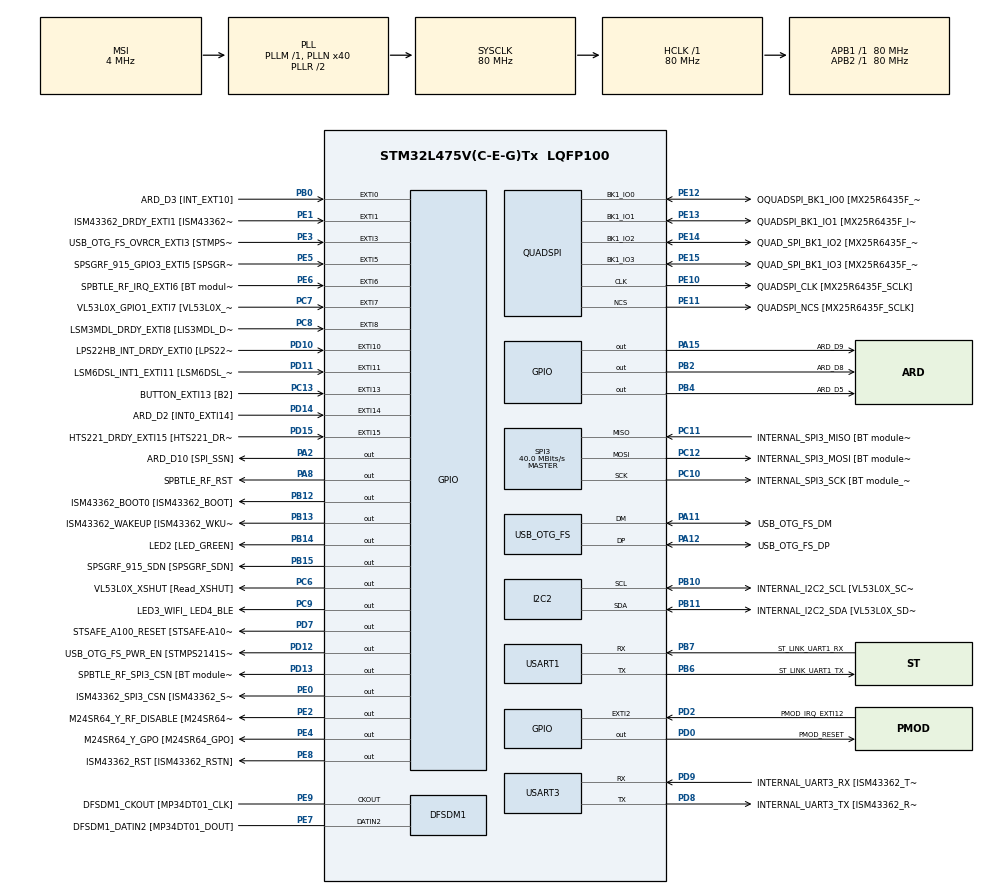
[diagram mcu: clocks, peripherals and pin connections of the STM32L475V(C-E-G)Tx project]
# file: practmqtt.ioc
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FREERTOS.Tasks01=defaultTask,32,256,StartDefaultTask,Default,NULL,Dynamic,NULL,NULL;wifiStarat,24,512,wifiStartTask,Default,NULL,Dynamic,NULL,NULL
FREERTOS.configTOTAL_HEAP_SIZE=5000
FREERTOS.configUSE_NEWLIB_REENTRANT=1
Mcu.Family=STM32L4
Mcu.Name=STM32L475V(C-E-G)Tx
Mcu.Package=LQFP100
NVIC.EXTI15_10_IRQn=true\:5\:0\:false\:false\:true\:true\:true\:true\:true
NVIC.EXTI1_IRQn=true\:0\:0\:false\:false\:true\:false\:true\:true\:true
NVIC.EXTI9_5_IRQn=true\:5\:0\:false\:false\:true\:true\:true\:true\:true
NVIC.PriorityGroup=NVIC_PRIORITYGROUP_4
NVIC.SPI3_IRQn=true\:0\:0\:false\:false\:false\:false\:true\:true\:true
NVIC.TIM6_DAC_IRQn=true\:15\:0\:false\:false\:true\:false\:false\:true\:true
NVIC.TimeBase=TIM6_DAC_IRQn
NVIC.TimeBaseIP=TIM6
PA0.GPIO_Label=ARD_D1 [UART4_TX]
PA0.Signal=UART4_TX
PA1.GPIO_Label=ARD_D0 [UART4_RX]
PA1.Signal=UART4_RX
PA10.GPIO_Label=USB_OTG_FS_ID
PA10.Signal=USB_OTG_FS_ID
PA11.GPIO_Label=USB_OTG_FS_DM
PA11.Mode=Device_Only
PA11.Signal=USB_OTG_FS_DM
PA12.GPIO_Label=USB_OTG_FS_DP
PA12.Mode=Device_Only
PA12.Signal=USB_OTG_FS_DP
PA13\ (JTMS-SWDIO).GPIO_Label=SYS_JTMS_SWDIO
PA13\ (JTMS-SWDIO).Mode=Serial_Wire
PA13\ (JTMS-SWDIO).Signal=SYS_JTMS-SWDIO
PA14\ (JTCK-SWCLK).GPIO_Label=SYS_JTCK_SWCLK
PA14\ (JTCK-SWCLK).Mode=Serial_Wire
PA14\ (JTCK-SWCLK).Signal=SYS_JTCK-SWCLK
PA15\ (JTDI).GPIO_Label=ARD_D9
PA15\ (JTDI).Signal=GPIO_Output
PA2.GPIO_Label=ARD_D10 [SPI_SSN]
PA2.Signal=GPIO_Output
PA3.GPIO_Label=ARD_D4
PA3.Signal=S_TIM2_CH4
PA4.GPIO_Label=ARD_D7
PA4.Signal=ADCx_IN9
PA5.GPIO_Label=ARD_D13 [SPI1_SCK]
PA5.Signal=SPI1_SCK
PA6.GPIO_Label=ARD_D12 [SPI1_MISO]
PA6.Signal=SPI1_MISO
PA7.GPIO_Label=ARD_D11 [SPI1_MOSI]
PA7.Signal=SPI1_MOSI
PA8.GPIO_Label=SPBTLE_RF_RST
PA8.Signal=GPIO_Output
PA9.GPIO_Label=USB_OTG_FS_VBUS [STMPS2141STR_OUT]
PA9.Signal=USB_OTG_FS_VBUS
PB0.GPIO_Label=ARD_D3 [INT_EXT10]
PB0.Signal=GPXTI0
PB1.GPIO_Label=ARD_D6 [ADC1_IN6]
PB1.Signal=ADCx_IN16
PB10.GPIO_Label=INTERNAL_I2C2_SCL [VL53L0X_SCL]
PB10.GPIO_Pu=GPIO_PULLUP
PB10.Mode=I2C
PB10.Signal=I2C2_SCL
PB11.GPIO_Label=INTERNAL_I2C2_SDA [VL53L0X_SDA]
PB11.GPIO_Pu=GPIO_PULLUP
PB11.Mode=I2C
PB11.Signal=I2C2_SDA
PB12.GPIO_Label=ISM43362_BOOT0 [ISM43362_BOOT]
PB12.Signal=GPIO_Output
PB13.GPIO_Label=ISM43362_WAKEUP [ISM43362_WKUP]
PB13.Signal=GPIO_Output
PB14.GPIO_Label=LED2 [LED_GREEN]
PB14.Signal=GPIO_Output
PB15.GPIO_Label=SPSGRF_915_SDN [SPSGRF_SDN]
PB15.Signal=GPIO_Output
PB2.GPIO_Label=ARD_D8
PB2.Signal=GPIO_Output
PB3\ (JTDO-TRACESWO).GPIO_Label=SYS_JTD0_SWO
PB3\ (JTDO-TRACESWO).Signal=SYS_JTDO-SWO
PB4\ (NJTRST).GPIO_Label=ARD_D5
PB4\ (NJTRST).Signal=GPIO_Output
PB6.GPIO_Label=ST_LINK_UART1_TX
PB6.Mode=Asynchronous
PB6.Signal=USART1_TX
PB7.GPIO_Label=ST_LINK_UART1_RX
PB7.Mode=Asynchronous
PB7.Signal=USART1_RX
PB8.GPIO_Label=ARD_D15 [I2C1_SCL]
PB8.Signal=I2C1_SCL
PB9.GPIO_Label=ARD_D14 [I2C1_SDA]
PB9.Signal=I2C1_SDA
PC0.GPIO_Label=ARD_A5 [ADC]
PC0.Signal=ADCx_IN1
PC1.GPIO_Label=ARD_A4 [ADC]
PC1.Signal=ADCx_IN2
PC10.GPIO_Label=INTERNAL_SPI3_SCK [BT module_SPI_SCLK] [ISM43362_SCK]
PC10.Mode=Full_Duplex_Master
PC10.Signal=SPI3_SCK
PC11.GPIO_Label=INTERNAL_SPI3_MISO [BT module_SPI_MISO] [ISM43362_MISO]
PC11.Mode=Full_Duplex_Master
PC11.Signal=SPI3_MISO
PC12.GPIO_Label=INTERNAL_SPI3_MOSI [BT module_SPI_MOSI] [ISM43362_MOSI]
PC12.Mode=Full_Duplex_Master
PC12.Signal=SPI3_MOSI
PC13.GPIO_Label=BUTTON_EXTI13 [B2]
PC13.GPIO_ModeDefaultEXTI=GPIO_MODE_IT_FALLING
PC13.Signal=GPXTI13
PC14-OSC32_IN\ (PC14).Mode=LSE-External-Oscillator
PC14-OSC32_IN\ (PC14).Signal=RCC_OSC32_IN
PC15-OSC32_OUT\ (PC15).Mode=LSE-External-Oscillator
PC15-OSC32_OUT\ (PC15).Signal=RCC_OSC32_OUT
PC2.GPIO_Label=ARD_A3 [ADC]
PC2.Signal=ADCx_IN3
PC3.GPIO_Label=ARD_A2 [ADC]
PC3.Signal=ADCx_IN4
PC4.GPIO_Label=ARD_A1 [ADC]
PC4.Signal=ADCx_IN13
PC5.GPIO_Label=ARD_A0 [ADC]
PC5.Signal=ADCx_IN14
PC6.GPIO_Label=VL53L0X_XSHUT [Read_XSHUT]
PC6.Signal=GPIO_Output
PC7.GPIO_Label=VL53L0X_GPIO1_EXTI7 [VL53L0X_GPIO1]
PC7.Signal=GPXTI7
PC8.GPIO_Label=LSM3MDL_DRDY_EXTI8 [LIS3MDL_DRDY]
PC8.Signal=GPXTI8
PC9.GPIO_Label=LED3_WIFI_ LED4_BLE
PC9.Signal=GPIO_Output
PD0.GPIO_Label=PMOD_RESET
PD0.Signal=GPIO_Output
PD1.GPIO_Label=PMOD_SPI2_SCK
PD1.Signal=SPI2_SCK
PD10.GPIO_Label=LPS22HB_INT_DRDY_EXTI0 [LPS22HB_INT_DRDY] 
PD10.Signal=GPXTI10
PD11.GPIO_Label=LSM6DSL_INT1_EXTI11 [LSM6DSL_INT1]
PD11.Signal=GPXTI11
PD12.GPIO_Label=USB_OTG_FS_PWR_EN [STMPS2141STR_EN]
PD12.Signal=GPIO_Output
PD13.GPIO_Label=SPBTLE_RF_SPI3_CSN [BT module_SPI_CS]
PD13.PinState=GPIO_PIN_SET
PD13.Signal=GPIO_Output
PD14.GPIO_Label=ARD_D2 [INT0_EXTI14]
PD14.Signal=GPXTI14
PD15.GPIO_Label=HTS221_DRDY_EXTI15 [HTS221_DRDY]
PD15.Signal=GPXTI15
PD2.GPIO_Label=PMOD_IRQ_EXTI12
PD2.Signal=GPXTI2
PD3.GPIO_Label=PMOD_UART2_CTS
PD3.Signal=USART2_CTS
PD4.GPIO_Label=PMOD_UART2_RTS
PD4.Signal=USART2_RTS
PD5.GPIO_Label=PMOD_UART2_TX
PD5.Signal=USART2_TX
PD6.GPIO_Label=PMOD_UART2_RX
PD6.Signal=USART2_RX
PD7.GPIO_Label=STSAFE_A100_RESET [STSAFE-A100_RESET]
PD7.Signal=GPIO_Output
PD8.GPIO_Label=INTERNAL_UART3_TX [ISM43362_RX]
PD8.Mode=Asynchronous
PD8.Signal=USART3_TX
PD9.GPIO_Label=INTERNAL_UART3_RX [ISM43362_TX]
PD9.Mode=Asynchronous
PD9.Signal=USART3_RX
PE0.GPIO_Label=ISM43362_SPI3_CSN [ISM43362_SSN]
PE0.PinState=GPIO_PIN_SET
PE0.Signal=GPIO_Output
PE1.GPIO_Label=ISM43362_DRDY_EXTI1 [ISM43362_DATARDY]
PE1.Signal=GPXTI1
PE10.GPIO_Label=QUADSPI_CLK [MX25R6435F_SCLK]
PE10.Mode=Single Bank
PE10.Signal=QUADSPI_CLK
PE11.GPIO_Label=QUADSPI_NCS [MX25R6435F_SCLK]
PE11.Mode=Single Bank
PE11.Signal=QUADSPI_NCS
PE12.GPIO_Label=OQUADSPI_BK1_IO0 [MX25R6435F_IO0]
PE12.Mode=Single Bank
PE12.Signal=QUADSPI_BK1_IO0
PE13.GPIO_Label=QUADSPI_BK1_IO1 [MX25R6435F_IO1]
PE13.Mode=Single Bank
PE13.Signal=QUADSPI_BK1_IO1
PE14.GPIO_Label=QUAD_SPI_BK1_IO2 [MX25R6435F_IO2]
PE14.Mode=Single Bank
PE14.Signal=QUADSPI_BK1_IO2
PE15.GPIO_Label=QUAD_SPI_BK1_IO3 [MX25R6435F_IO3]
PE15.Mode=Single Bank
PE15.Signal=QUADSPI_BK1_IO3
PE2.GPIO_Label=M24SR64_Y_RF_DISABLE [M24SR64_RFDIS]
PE2.Signal=GPIO_Output
PE3.GPIO_Label=USB_OTG_FS_OVRCR_EXTI3 [STMPS2141STR_FAULT]
PE3.Signal=GPXTI3
PE4.GPIO_Label=M24SR64_Y_GPO [M24SR64_GPO]
PE4.Signal=GPIO_Output
PE5.GPIO_Label=SPSGRF_915_GPIO3_EXTI5 [SPSGRF_GPIO_3]
PE5.Signal=GPXTI5
PE6.GPIO_Label=SPBTLE_RF_IRQ_EXTI6 [BT module_SPI_IRQ]
PE6.Signal=GPXTI6
PE7.GPIO_Label=DFSDM1_DATIN2 [MP34DT01_DOUT]
PE7.Signal=S_DATAIN2DFSDM1
PE8.GPIO_Label=ISM43362_RST [ISM43362_RSTN]
PE8.Signal=GPIO_Output
PE9.GPIO_Label=DFSDM1_CKOUT [MP34DT01_CLK]
PE9.Signal=S_CKOUTDFSDM1
ProjectManager.HeapSize=0x200
ProjectManager.StackSize=0x400
ProjectManager.TargetToolchain=STM32CubeIDE
QUADSPI.ClockPrescaler=2
QUADSPI.FifoThreshold=4
QUADSPI.FlashSize=23
QUADSPI.SampleShifting=QSPI_SAMPLE_SHIFTING_HALFCYCLE
RCC.ADCFreq_Value=48000000
RCC.AHBFreq_Value=80000000
RCC.APB1Freq_Value=80000000
RCC.APB1TimFreq_Value=80000000
RCC.APB2Freq_Value=80000000
RCC.APB2TimFreq_Value=80000000
RCC.CortexFreq_Value=80000000
RCC.HCLKFreq_Value=80000000
RCC.HSE_VALUE=8000000
RCC.HSI_VALUE=16000000
RCC.MSI_VALUE=4000000
RCC.PLLN=40
RCC.PLLSAI1N=24
RCC.SYSCLKFreq_VALUE=80000000
RCC.SYSCLKSource=RCC_SYSCLKSOURCE_PLLCLK
RCC.USBFreq_Value=48000000
RCC.VCOOutputFreq_Value=160000000
SH.ADCx_IN1.0=ADC1_IN1
SH.ADCx_IN13.0=ADC1_IN13
SH.ADCx_IN14.0=ADC1_IN14
SH.ADCx_IN16.0=ADC1_IN16
SH.ADCx_IN2.0=ADC1_IN2
SH.ADCx_IN3.0=ADC1_IN3
SH.ADCx_IN4.0=ADC1_IN4
SH.ADCx_IN9.0=ADC1_IN9
SH.S_CKOUTDFSDM1.0=DFSDM1_CKOUT,CKOUT
SH.S_CKOUTDFSDM1.1=DFSDM1_CKOUT,PDM_SPI_Input_from_ch12_and_Internal_Clock
SH.S_DATAIN2DFSDM1.0=DFSDM1_DATIN2,PDM_SPI_Input_from_ch12_and_Internal_Clock
SH.S_TIM2_CH4.0=TIM2_CH4
SPI3.CalculateBaudRate=40.0 MBits/s
SPI3.Direction=SPI_DIRECTION_2LINES
SPI3.Mode=SPI_MODE_MASTER
SPI3.VirtualType=VM_MASTER
USART1.VirtualMode-Asynchronous=VM_ASYNC
USART3.VirtualMode-Asynchronous=VM_ASYNC
USB_OTG_FS.VirtualMode=Device_Only
VP_FREERTOS_VS_CMSIS_V2.Mode=CMSIS_V2
VP_SYS_VS_tim6.Mode=TIM6
board=B-L475E-IOT01A2

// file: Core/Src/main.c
/* USER CODE BEGIN Header */
/**
  ******************************************************************************
  * @file           : main.c
  * @brief          : Main program body
  ******************************************************************************
  * @attention
  *
  * Copyright (c) 2023 STMicroelectronics.
  * All rights reserved.
  *
  * This software is licensed under terms that can be found in the LICENSE file
  * in the root directory of this software component.
  * If no LICENSE file comes with this software, it is provided AS-IS.
  *
  ******************************************************************************
  */
/* USER CODE END Header */
#include "main.h"
#include "cmsis_os.h"

/* USER CODE BEGIN Includes */
#include "es_wifi.h"
#include "wifi.h"
#include "stm32l4xx_hal_uart.h"
//#include "stm32l475e_iot01.h"
//#include "stm32l475e_iot01_tsensor.h"
#include "core_mqtt.h"
#include "mqtt_priv.h"
//#include "timers.h"
/* USER CODE END Includes */

/* USER CODE BEGIN PM */
/* Update SSID and PASSWORD with own Access point settings */
#define SSID     "Antonio"
#define PASSWORD "Antonio_psswrd"
//#define WIFISECURITY WIFI_ECN_OPEN
#define WIFISECURITY WIFI_ECN_WPA2_PSK

#define SOCKET 0
#define WIFI_READ_TIMEOUT 20000
#define WIFI_WRITE_TIMEOUT 0

#ifdef  TERMINAL_USE
#define LOG(a) printf a
#else
#define LOG(a)
#endif
/* USER CODE END PM */

DFSDM_Channel_HandleTypeDef hdfsdm1_channel1;

I2C_HandleTypeDef hi2c2;

QSPI_HandleTypeDef hqspi;

SPI_HandleTypeDef hspi3;

UART_HandleTypeDef huart1;
UART_HandleTypeDef huart3;

PCD_HandleTypeDef hpcd_USB_OTG_FS;

/* Definitions for defaultTask */
osThreadId_t defaultTaskHandle;
const osThreadAttr_t defaultTask_attributes = {
  .name = "defaultTask",
  .stack_size = 256 * 4,
  .priority = (osPriority_t) osPriorityAboveNormal,
};
/* Definitions for wifiStarat */
osThreadId_t wifiStaratHandle;
const osThreadAttr_t wifiStarat_attributes = {
  .name = "wifiStarat",
  .stack_size = 512 * 4,
  .priority = (osPriority_t) osPriorityNormal,
};
/* USER CODE BEGIN PV */
extern  SPI_HandleTypeDef hspi;
static  uint8_t  IP_Addr[4];
#if defined (TERMINAL_USE)
extern UART_HandleTypeDef hDiscoUart;
#endif /* TERMINAL_USE */
/* USER CODE END PV */

void SystemClock_Config(void);
static void MX_GPIO_Init(void);
static void MX_DFSDM1_Init(void);
static void MX_I2C2_Init(void);
static void MX_QUADSPI_Init(void);
static void MX_SPI3_Init(void);
static void MX_USART1_UART_Init(void);
static void MX_USART3_UART_Init(void);
static void MX_USB_OTG_FS_PCD_Init(void);
void StartDefaultTask(void *argument);
void wifiStartTask(void *argument);

/* USER CODE BEGIN PFP */
#if defined (TERMINAL_USE)
#ifdef __GNUC__
/* With GCC, small printf (option LD Linker->Libraries->Small printf
   set to 'Yes') calls __io_putchar() */
#define PUTCHAR_PROTOTYPE int __io_putchar(int ch)
#else
#define PUTCHAR_PROTOTYPE int fputc(int ch, FILE *f)
#endif /* __GNUC__ */
#endif /* TERMINAL_USE */
/* USER CODE END PFP */

int main(void)
{

  /* MCU Configuration--------------------------------------------------------*/

  /* Reset of all peripherals, Initializes the Flash interface and the Systick. */
  HAL_Init();

  /* Configure the system clock */
  SystemClock_Config();

  /* Initialize all configured peripherals */
  MX_GPIO_Init();
  MX_DFSDM1_Init();
  MX_I2C2_Init();
  MX_QUADSPI_Init();
  MX_SPI3_Init();
  MX_USART1_UART_Init();
  MX_USART3_UART_Init();
  MX_USB_OTG_FS_PCD_Init();
  /* USER CODE BEGIN 2 */
	#if defined (TERMINAL_USE)
		  /* Initialize all configured peripherals */
		  hDiscoUart.Instance = DISCOVERY_COM1;
		  hDiscoUart.Init.BaudRate = 115200;
		  hDiscoUart.Init.WordLength = UART_WORDLENGTH_8B;
		  hDiscoUart.Init.StopBits = UART_STOPBITS_1;
		  hDiscoUart.Init.Parity = UART_PARITY_NONE;
		  hDiscoUart.Init.Mode = UART_MODE_TX_RX;
		  hDiscoUart.Init.HwFlowCtl = UART_HWCONTROL_NONE;
		  hDiscoUart.Init.OverSampling = UART_OVERSAMPLING_16;
		  hDiscoUart.Init.OneBitSampling = UART_ONE_BIT_SAMPLE_DISABLE;
		  hDiscoUart.AdvancedInit.AdvFeatureInit = UART_ADVFEATURE_NO_INIT;

		  BSP_COM_Init(COM1, &hDiscoUart);

		#endif /* TERMINAL_USE */

		//BSP_TSENSOR_Init();

		printf("****** Sistemas Ciberfisicos ****** \n\n");
  /* USER CODE END 2 */

  /* Init scheduler */
  osKernelInitialize();

  /* Create the thread(s) */
  /* creation of defaultTask */
  defaultTaskHandle = osThreadNew(StartDefaultTask, NULL, &defaultTask_attributes);

  /* creation of wifiStarat */
  wifiStaratHandle = osThreadNew(wifiStartTask, NULL, &wifiStarat_attributes);

  /* Start scheduler */
  osKernelStart();

  /* We should never get here as control is now taken by the scheduler */
  /* Infinite loop */
  while (1)
  {

  }
}

void SystemClock_Config(void)
{
  RCC_OscInitTypeDef RCC_OscInitStruct = {0};
  RCC_ClkInitTypeDef RCC_ClkInitStruct = {0};

  /** Configure the main internal regulator output voltage
  */
  if (HAL_PWREx_ControlVoltageScaling(PWR_REGULATOR_VOLTAGE_SCALE1) != HAL_OK)
  {
    Error_Handler();
  }

  /** Configure LSE Drive Capability
  */
  HAL_PWR_EnableBkUpAccess();
  __HAL_RCC_LSEDRIVE_CONFIG(RCC_LSEDRIVE_LOW);

  /** Initializes the RCC Oscillators according to the specified parameters
  * in the RCC_OscInitTypeDef structure.
  */
  RCC_OscInitStruct.OscillatorType = RCC_OSCILLATORTYPE_LSE|RCC_OSCILLATORTYPE_MSI;
  RCC_OscInitStruct.LSEState = RCC_LSE_ON;
  RCC_OscInitStruct.MSIState = RCC_MSI_ON;
  RCC_OscInitStruct.MSICalibrationValue = 0;
  RCC_OscInitStruct.MSIClockRange = RCC_MSIRANGE_6;
  RCC_OscInitStruct.PLL.PLLState = RCC_PLL_ON;
  RCC_OscInitStruct.PLL.PLLSource = RCC_PLLSOURCE_MSI;
  RCC_OscInitStruct.PLL.PLLM = 1;
  RCC_OscInitStruct.PLL.PLLN = 40;
  RCC_OscInitStruct.PLL.PLLP = RCC_PLLP_DIV7;
  RCC_OscInitStruct.PLL.PLLQ = RCC_PLLQ_DIV2;
  RCC_OscInitStruct.PLL.PLLR = RCC_PLLR_DIV2;
  if (HAL_RCC_OscConfig(&RCC_OscInitStruct) != HAL_OK)
  {
    Error_Handler();
  }

  /** Initializes the CPU, AHB and APB buses clocks
  */
  RCC_ClkInitStruct.ClockType = RCC_CLOCKTYPE_HCLK|RCC_CLOCKTYPE_SYSCLK
                              |RCC_CLOCKTYPE_PCLK1|RCC_CLOCKTYPE_PCLK2;
  RCC_ClkInitStruct.SYSCLKSource = RCC_SYSCLKSOURCE_PLLCLK;
  RCC_ClkInitStruct.AHBCLKDivider = RCC_SYSCLK_DIV1;
  RCC_ClkInitStruct.APB1CLKDivider = RCC_HCLK_DIV1;
  RCC_ClkInitStruct.APB2CLKDivider = RCC_HCLK_DIV1;

  if (HAL_RCC_ClockConfig(&RCC_ClkInitStruct, FLASH_LATENCY_4) != HAL_OK)
  {
    Error_Handler();
  }

  /** Enable MSI Auto calibration
  */
  HAL_RCCEx_EnableMSIPLLMode();
}

static void MX_DFSDM1_Init(void)
{

  hdfsdm1_channel1.Instance = DFSDM1_Channel1;
  hdfsdm1_channel1.Init.OutputClock.Activation = ENABLE;
  hdfsdm1_channel1.Init.OutputClock.Selection = DFSDM_CHANNEL_OUTPUT_CLOCK_SYSTEM;
  hdfsdm1_channel1.Init.OutputClock.Divider = 2;
  hdfsdm1_channel1.Init.Input.Multiplexer = DFSDM_CHANNEL_EXTERNAL_INPUTS;
  hdfsdm1_channel1.Init.Input.DataPacking = DFSDM_CHANNEL_STANDARD_MODE;
  hdfsdm1_channel1.Init.Input.Pins = DFSDM_CHANNEL_FOLLOWING_CHANNEL_PINS;
  hdfsdm1_channel1.Init.SerialInterface.Type = DFSDM_CHANNEL_SPI_RISING;
  hdfsdm1_channel1.Init.SerialInterface.SpiClock = DFSDM_CHANNEL_SPI_CLOCK_INTERNAL;
  hdfsdm1_channel1.Init.Awd.FilterOrder = DFSDM_CHANNEL_FASTSINC_ORDER;
  hdfsdm1_channel1.Init.Awd.Oversampling = 1;
  hdfsdm1_channel1.Init.Offset = 0;
  hdfsdm1_channel1.Init.RightBitShift = 0x00;
  if (HAL_DFSDM_ChannelInit(&hdfsdm1_channel1) != HAL_OK)
  {
    Error_Handler();
  }

}

static void MX_I2C2_Init(void)
{

  hi2c2.Instance = I2C2;
  hi2c2.Init.Timing = 0x00000E14;
  hi2c2.Init.OwnAddress1 = 0;
  hi2c2.Init.AddressingMode = I2C_ADDRESSINGMODE_7BIT;
  hi2c2.Init.DualAddressMode = I2C_DUALADDRESS_DISABLE;
  hi2c2.Init.OwnAddress2 = 0;
  hi2c2.Init.OwnAddress2Masks = I2C_OA2_NOMASK;
  hi2c2.Init.GeneralCallMode = I2C_GENERALCALL_DISABLE;
  hi2c2.Init.NoStretchMode = I2C_NOSTRETCH_DISABLE;
  if (HAL_I2C_Init(&hi2c2) != HAL_OK)
  {
    Error_Handler();
  }

  /** Configure Analogue filter
  */
  if (HAL_I2CEx_ConfigAnalogFilter(&hi2c2, I2C_ANALOGFILTER_ENABLE) != HAL_OK)
  {
    Error_Handler();
  }

  /** Configure Digital filter
  */
  if (HAL_I2CEx_ConfigDigitalFilter(&hi2c2, 0) != HAL_OK)
  {
    Error_Handler();
  }

}

static void MX_QUADSPI_Init(void)
{

  /* QUADSPI parameter configuration*/
  hqspi.Instance = QUADSPI;
  hqspi.Init.ClockPrescaler = 2;
  hqspi.Init.FifoThreshold = 4;
  hqspi.Init.SampleShifting = QSPI_SAMPLE_SHIFTING_HALFCYCLE;
  hqspi.Init.FlashSize = 23;
  hqspi.Init.ChipSelectHighTime = QSPI_CS_HIGH_TIME_1_CYCLE;
  hqspi.Init.ClockMode = QSPI_CLOCK_MODE_0;
  if (HAL_QSPI_Init(&hqspi) != HAL_OK)
  {
    Error_Handler();
  }

}

static void MX_SPI3_Init(void)
{

  /* SPI3 parameter configuration*/
  hspi3.Instance = SPI3;
  hspi3.Init.Mode = SPI_MODE_MASTER;
  hspi3.Init.Direction = SPI_DIRECTION_2LINES;
  hspi3.Init.DataSize = SPI_DATASIZE_4BIT;
  hspi3.Init.CLKPolarity = SPI_POLARITY_LOW;
  hspi3.Init.CLKPhase = SPI_PHASE_1EDGE;
  hspi3.Init.NSS = SPI_NSS_SOFT;
  hspi3.Init.BaudRatePrescaler = SPI_BAUDRATEPRESCALER_2;
  hspi3.Init.FirstBit = SPI_FIRSTBIT_MSB;
  hspi3.Init.TIMode = SPI_TIMODE_DISABLE;
  hspi3.Init.CRCCalculation = SPI_CRCCALCULATION_DISABLE;
  hspi3.Init.CRCPolynomial = 7;
  hspi3.Init.CRCLength = SPI_CRC_LENGTH_DATASIZE;
  hspi3.Init.NSSPMode = SPI_NSS_PULSE_ENABLE;
  if (HAL_SPI_Init(&hspi3) != HAL_OK)
  {
    Error_Handler();
  }

}

static void MX_USART1_UART_Init(void)
{

  huart1.Instance = USART1;
  huart1.Init.BaudRate = 115200;
  huart1.Init.WordLength = UART_WORDLENGTH_8B;
  huart1.Init.StopBits = UART_STOPBITS_1;
  huart1.Init.Parity = UART_PARITY_NONE;
  huart1.Init.Mode = UART_MODE_TX_RX;
  huart1.Init.HwFlowCtl = UART_HWCONTROL_NONE;
  huart1.Init.OverSampling = UART_OVERSAMPLING_16;
  huart1.Init.OneBitSampling = UART_ONE_BIT_SAMPLE_DISABLE;
  huart1.AdvancedInit.AdvFeatureInit = UART_ADVFEATURE_NO_INIT;
  if (HAL_UART_Init(&huart1) != HAL_OK)
  {
    Error_Handler();
  }

}

static void MX_USART3_UART_Init(void)
{

  huart3.Instance = USART3;
  huart3.Init.BaudRate = 115200;
  huart3.Init.WordLength = UART_WORDLENGTH_8B;
  huart3.Init.StopBits = UART_STOPBITS_1;
  huart3.Init.Parity = UART_PARITY_NONE;
  huart3.Init.Mode = UART_MODE_TX_RX;
  huart3.Init.HwFlowCtl = UART_HWCONTROL_NONE;
  huart3.Init.OverSampling = UART_OVERSAMPLING_16;
  huart3.Init.OneBitSampling = UART_ONE_BIT_SAMPLE_DISABLE;
  huart3.AdvancedInit.AdvFeatureInit = UART_ADVFEATURE_NO_INIT;
  if (HAL_UART_Init(&huart3) != HAL_OK)
  {
    Error_Handler();
  }

}

static void MX_USB_OTG_FS_PCD_Init(void)
{

  hpcd_USB_OTG_FS.Instance = USB_OTG_FS;
  hpcd_USB_OTG_FS.Init.dev_endpoints = 6;
  hpcd_USB_OTG_FS.Init.speed = PCD_SPEED_FULL;
  hpcd_USB_OTG_FS.Init.phy_itface = PCD_PHY_EMBEDDED;
  hpcd_USB_OTG_FS.Init.Sof_enable = DISABLE;
  hpcd_USB_OTG_FS.Init.low_power_enable = DISABLE;
  hpcd_USB_OTG_FS.Init.lpm_enable = DISABLE;
  hpcd_USB_OTG_FS.Init.battery_charging_enable = DISABLE;
  hpcd_USB_OTG_FS.Init.use_dedicated_ep1 = DISABLE;
  hpcd_USB_OTG_FS.Init.vbus_sensing_enable = DISABLE;
  if (HAL_PCD_Init(&hpcd_USB_OTG_FS) != HAL_OK)
  {
    Error_Handler();
  }

}

static void MX_GPIO_Init(void)
{
  GPIO_InitTypeDef GPIO_InitStruct = {0};

  /* GPIO Ports Clock Enable */
  __HAL_RCC_GPIOE_CLK_ENABLE();
  __HAL_RCC_GPIOC_CLK_ENABLE();
  __HAL_RCC_GPIOA_CLK_ENABLE();
  __HAL_RCC_GPIOB_CLK_ENABLE();
  __HAL_RCC_GPIOD_CLK_ENABLE();

  /*Configure GPIO pin Output Level */
  HAL_GPIO_WritePin(GPIOE, M24SR64_Y_RF_DISABLE_Pin|M24SR64_Y_GPO_Pin|ISM43362_RST_Pin, GPIO_PIN_RESET);

  /*Configure GPIO pin Output Level */
  HAL_GPIO_WritePin(GPIOA, ARD_D10_Pin|SPBTLE_RF_RST_Pin|ARD_D9_Pin, GPIO_PIN_RESET);

  /*Configure GPIO pin Output Level */
  HAL_GPIO_WritePin(GPIOB, ARD_D8_Pin|ISM43362_BOOT0_Pin|ISM43362_WAKEUP_Pin|LED2_Pin
                          |SPSGRF_915_SDN_Pin|ARD_D5_Pin, GPIO_PIN_RESET);

  /*Configure GPIO pin Output Level */
  HAL_GPIO_WritePin(GPIOD, USB_OTG_FS_PWR_EN_Pin|PMOD_RESET_Pin|STSAFE_A100_RESET_Pin, GPIO_PIN_RESET);

  /*Configure GPIO pin Output Level */
  HAL_GPIO_WritePin(SPBTLE_RF_SPI3_CSN_GPIO_Port, SPBTLE_RF_SPI3_CSN_Pin, GPIO_PIN_SET);

  /*Configure GPIO pin Output Level */
  HAL_GPIO_WritePin(GPIOC, VL53L0X_XSHUT_Pin|LED3_WIFI__LED4_BLE_Pin, GPIO_PIN_RESET);

  /*Configure GPIO pin Output Level */
  HAL_GPIO_WritePin(ISM43362_SPI3_CSN_GPIO_Port, ISM43362_SPI3_CSN_Pin, GPIO_PIN_SET);

  /*Configure GPIO pins : M24SR64_Y_RF_DISABLE_Pin M24SR64_Y_GPO_Pin ISM43362_RST_Pin ISM43362_SPI3_CSN_Pin */
  GPIO_InitStruct.Pin = M24SR64_Y_RF_DISABLE_Pin|M24SR64_Y_GPO_Pin|ISM43362_RST_Pin|ISM43362_SPI3_CSN_Pin;
  GPIO_InitStruct.Mode = GPIO_MODE_OUTPUT_PP;
  GPIO_InitStruct.Pull = GPIO_NOPULL;
  GPIO_InitStruct.Speed = GPIO_SPEED_FREQ_LOW;
  HAL_GPIO_Init(GPIOE, &GPIO_InitStruct);

  /*Configure GPIO pins : USB_OTG_FS_OVRCR_EXTI3_Pin SPSGRF_915_GPIO3_EXTI5_Pin SPBTLE_RF_IRQ_EXTI6_Pin ISM43362_DRDY_EXTI1_Pin */
  GPIO_InitStruct.Pin = USB_OTG_FS_OVRCR_EXTI3_Pin|SPSGRF_915_GPIO3_EXTI5_Pin|SPBTLE_RF_IRQ_EXTI6_Pin|ISM43362_DRDY_EXTI1_Pin;
  GPIO_InitStruct.Mode = GPIO_MODE_IT_RISING;
  GPIO_InitStruct.Pull = GPIO_NOPULL;
  HAL_GPIO_Init(GPIOE, &GPIO_InitStruct);

  /*Configure GPIO pin : BUTTON_EXTI13_Pin */
  GPIO_InitStruct.Pin = BUTTON_EXTI13_Pin;
  GPIO_InitStruct.Mode = GPIO_MODE_IT_FALLING;
  GPIO_InitStruct.Pull = GPIO_NOPULL;
  HAL_GPIO_Init(BUTTON_EXTI13_GPIO_Port, &GPIO_InitStruct);

  /*Configure GPIO pins : ARD_A5_Pin ARD_A4_Pin ARD_A3_Pin ARD_A2_Pin
                           ARD_A1_Pin ARD_A0_Pin */
  GPIO_InitStruct.Pin = ARD_A5_Pin|ARD_A4_Pin|ARD_A3_Pin|ARD_A2_Pin
                          |ARD_A1_Pin|ARD_A0_Pin;
  GPIO_InitStruct.Mode = GPIO_MODE_ANALOG_ADC_CONTROL;
  GPIO_InitStruct.Pull = GPIO_NOPULL;
  HAL_GPIO_Init(GPIOC, &GPIO_InitStruct);

  /*Configure GPIO pins : ARD_D1_Pin ARD_D0_Pin */
  GPIO_InitStruct.Pin = ARD_D1_Pin|ARD_D0_Pin;
  GPIO_InitStruct.Mode = GPIO_MODE_AF_PP;
  GPIO_InitStruct.Pull = GPIO_NOPULL;
  GPIO_InitStruct.Speed = GPIO_SPEED_FREQ_VERY_HIGH;
  GPIO_InitStruct.Alternate = GPIO_AF8_UART4;
  HAL_GPIO_Init(GPIOA, &GPIO_InitStruct);

  /*Configure GPIO pins : ARD_D10_Pin SPBTLE_RF_RST_Pin ARD_D9_Pin */
  GPIO_InitStruct.Pin = ARD_D10_Pin|SPBTLE_RF_RST_Pin|ARD_D9_Pin;
  GPIO_InitStruct.Mode = GPIO_MODE_OUTPUT_PP;
  GPIO_InitStruct.Pull = GPIO_NOPULL;
  GPIO_InitStruct.Speed = GPIO_SPEED_FREQ_LOW;
  HAL_GPIO_Init(GPIOA, &GPIO_InitStruct);

  /*Configure GPIO pin : ARD_D4_Pin */
  GPIO_InitStruct.Pin = ARD_D4_Pin;
  GPIO_InitStruct.Mode = GPIO_MODE_AF_PP;
  GPIO_InitStruct.Pull = GPIO_NOPULL;
  GPIO_InitStruct.Speed = GPIO_SPEED_FREQ_LOW;
  GPIO_InitStruct.Alternate = GPIO_AF1_TIM2;
  HAL_GPIO_Init(ARD_D4_GPIO_Port, &GPIO_InitStruct);

  /*Configure GPIO pin : ARD_D7_Pin */
  GPIO_InitStruct.Pin = ARD_D7_Pin;
  GPIO_InitStruct.Mode = GPIO_MODE_ANALOG_ADC_CONTROL;
  GPIO_InitStruct.Pull = GPIO_NOPULL;
  HAL_GPIO_Init(ARD_D7_GPIO_Port, &GPIO_InitStruct);

  /*Configure GPIO pins : ARD_D13_Pin ARD_D12_Pin ARD_D11_Pin */
  GPIO_InitStruct.Pin = ARD_D13_Pin|ARD_D12_Pin|ARD_D11_Pin;
  GPIO_InitStruct.Mode = GPIO_MODE_AF_PP;
  GPIO_InitStruct.Pull = GPIO_NOPULL;
  GPIO_InitStruct.Speed = GPIO_SPEED_FREQ_VERY_HIGH;
  GPIO_InitStruct.Alternate = GPIO_AF5_SPI1;
  HAL_GPIO_Init(GPIOA, &GPIO_InitStruct);

  /*Configure GPIO pin : ARD_D3_Pin */
  GPIO_InitStruct.Pin = ARD_D3_Pin;
  GPIO_InitStruct.Mode = GPIO_MODE_IT_RISING;
  GPIO_InitStruct.Pull = GPIO_NOPULL;
  HAL_GPIO_Init(ARD_D3_GPIO_Port, &GPIO_InitStruct);

  /*Configure GPIO pin : ARD_D6_Pin */
  GPIO_InitStruct.Pin = ARD_D6_Pin;
  GPIO_InitStruct.Mode = GPIO_MODE_ANALOG_ADC_CONTROL;
  GPIO_InitStruct.Pull = GPIO_NOPULL;
  HAL_GPIO_Init(ARD_D6_GPIO_Port, &GPIO_InitStruct);

  /*Configure GPIO pins : ARD_D8_Pin ISM43362_BOOT0_Pin ISM43362_WAKEUP_Pin LED2_Pin
                           SPSGRF_915_SDN_Pin ARD_D5_Pin */
  GPIO_InitStruct.Pin = ARD_D8_Pin|ISM43362_BOOT0_Pin|ISM43362_WAKEUP_Pin|LED2_Pin
                          |SPSGRF_915_SDN_Pin|ARD_D5_Pin;
  GPIO_InitStruct.Mode = GPIO_MODE_OUTPUT_PP;
  GPIO_InitStruct.Pull = GPIO_NOPULL;
  GPIO_InitStruct.Speed = GPIO_SPEED_FREQ_LOW;
  HAL_GPIO_Init(GPIOB, &GPIO_InitStruct);

  /*Configure GPIO pins : LPS22HB_INT_DRDY_EXTI0_Pin LSM6DSL_INT1_EXTI11_Pin ARD_D2_Pin HTS221_DRDY_EXTI15_Pin
                           PMOD_IRQ_EXTI12_Pin */
  GPIO_InitStruct.Pin = LPS22HB_INT_DRDY_EXTI0_Pin|LSM6DSL_INT1_EXTI11_Pin|ARD_D2_Pin|HTS221_DRDY_EXTI15_Pin
                          |PMOD_IRQ_EXTI12_Pin;
  GPIO_InitStruct.Mode = GPIO_MODE_IT_RISING;
  GPIO_InitStruct.Pull = GPIO_NOPULL;
  HAL_GPIO_Init(GPIOD, &GPIO_InitStruct);

  /*Configure GPIO pins : USB_OTG_FS_PWR_EN_Pin SPBTLE_RF_SPI3_CSN_Pin PMOD_RESET_Pin STSAFE_A100_RESET_Pin */
  GPIO_InitStruct.Pin = USB_OTG_FS_PWR_EN_Pin|SPBTLE_RF_SPI3_CSN_Pin|PMOD_RESET_Pin|STSAFE_A100_RESET_Pin;
  GPIO_InitStruct.Mode = GPIO_MODE_OUTPUT_PP;
  GPIO_InitStruct.Pull = GPIO_NOPULL;
  GPIO_InitStruct.Speed = GPIO_SPEED_FREQ_LOW;
  HAL_GPIO_Init(GPIOD, &GPIO_InitStruct);

  /*Configure GPIO pins : VL53L0X_XSHUT_Pin LED3_WIFI__LED4_BLE_Pin */
  GPIO_InitStruct.Pin = VL53L0X_XSHUT_Pin|LED3_WIFI__LED4_BLE_Pin;
  GPIO_InitStruct.Mode = GPIO_MODE_OUTPUT_PP;
  GPIO_InitStruct.Pull = GPIO_NOPULL;
  GPIO_InitStruct.Speed = GPIO_SPEED_FREQ_LOW;
  HAL_GPIO_Init(GPIOC, &GPIO_InitStruct);

  /*Configure GPIO pins : VL53L0X_GPIO1_EXTI7_Pin LSM3MDL_DRDY_EXTI8_Pin */
  GPIO_InitStruct.Pin = VL53L0X_GPIO1_EXTI7_Pin|LSM3MDL_DRDY_EXTI8_Pin;
  GPIO_InitStruct.Mode = GPIO_MODE_IT_RISING;
  GPIO_InitStruct.Pull = GPIO_NOPULL;
  HAL_GPIO_Init(GPIOC, &GPIO_InitStruct);

  /*Configure GPIO pin : PMOD_SPI2_SCK_Pin */
  GPIO_InitStruct.Pin = PMOD_SPI2_SCK_Pin;
  GPIO_InitStruct.Mode = GPIO_MODE_AF_PP;
  GPIO_InitStruct.Pull = GPIO_NOPULL;
  GPIO_InitStruct.Speed = GPIO_SPEED_FREQ_VERY_HIGH;
  GPIO_InitStruct.Alternate = GPIO_AF5_SPI2;
  HAL_GPIO_Init(PMOD_SPI2_SCK_GPIO_Port, &GPIO_InitStruct);

  /*Configure GPIO pins : PMOD_UART2_CTS_Pin PMOD_UART2_RTS_Pin PMOD_UART2_TX_Pin PMOD_UART2_RX_Pin */
  GPIO_InitStruct.Pin = PMOD_UART2_CTS_Pin|PMOD_UART2_RTS_Pin|PMOD_UART2_TX_Pin|PMOD_UART2_RX_Pin;
  GPIO_InitStruct.Mode = GPIO_MODE_AF_PP;
  GPIO_InitStruct.Pull = GPIO_NOPULL;
  GPIO_InitStruct.Speed = GPIO_SPEED_FREQ_VERY_HIGH;
  GPIO_InitStruct.Alternate = GPIO_AF7_USART2;
  HAL_GPIO_Init(GPIOD, &GPIO_InitStruct);

  /*Configure GPIO pins : ARD_D15_Pin ARD_D14_Pin */
  GPIO_InitStruct.Pin = ARD_D15_Pin|ARD_D14_Pin;
  GPIO_InitStruct.Mode = GPIO_MODE_AF_OD;
  GPIO_InitStruct.Pull = GPIO_NOPULL;
  GPIO_InitStruct.Speed = GPIO_SPEED_FREQ_VERY_HIGH;
  GPIO_InitStruct.Alternate = GPIO_AF4_I2C1;
  HAL_GPIO_Init(GPIOB, &GPIO_InitStruct);

  /* EXTI interrupt init*/
  HAL_NVIC_SetPriority(EXTI1_IRQn, 0, 0);
  HAL_NVIC_EnableIRQ(EXTI1_IRQn);

  HAL_NVIC_SetPriority(EXTI9_5_IRQn, 5, 0);
  HAL_NVIC_EnableIRQ(EXTI9_5_IRQn);

  HAL_NVIC_SetPriority(EXTI15_10_IRQn, 5, 0);
  HAL_NVIC_EnableIRQ(EXTI15_10_IRQn);

}

/* USER CODE BEGIN 4 */
int _write(int file, char *ptr, int len)
{
	int DataIdx;
	for(DataIdx=0; DataIdx<len; DataIdx++)
	{
		ITM_SendChar(*ptr++);
	}
	return len;
}

static int wifi_start(void)
{
  uint8_t  MAC_Addr[6];

 /*Initialize and use WIFI module */
  if(WIFI_Init() ==  WIFI_STATUS_OK)
  {
    printf("ES-WIFI Initialized.\n");
    if(WIFI_GetMAC_Address(MAC_Addr) == WIFI_STATUS_OK)
    {
      printf("> eS-WiFi module MAC Address : %02X:%02X:%02X:%02X:%02X:%02X\n",
               MAC_Addr[0],
               MAC_Addr[1],
               MAC_Addr[2],
               MAC_Addr[3],
               MAC_Addr[4],
               MAC_Addr[5]);
    }
    else
    {
      printf("> ERROR : CANNOT get MAC address\n");
      return -1;
    }
  }
  else
  {
    return -1;
  }
  return 0;
}

int wifi_connect(void)
{

  wifi_start();

  printf("\nConnecting to %s , %s\n",SSID,PASSWORD);
  if( WIFI_Connect(SSID, PASSWORD, WIFISECURITY) == WIFI_STATUS_OK)
  {
    if(WIFI_GetIP_Address(IP_Addr) == WIFI_STATUS_OK)
    {
      printf("> es-wifi module connected: got IP Address : %d.%d.%d.%d\n",
               IP_Addr[0],
               IP_Addr[1],
               IP_Addr[2],
               IP_Addr[3]);
    }
    else
    {
		  printf(" ERROR : es-wifi module CANNOT get IP address\n");
      return -1;
    }
  }
  else
  {
		 printf("ERROR : es-wifi module NOT connected\n");
     return -1;
  }
  return 0;
}

#if defined (TERMINAL_USE)
/**
  * @brief  Retargets the C library printf function to the USART.
  * @param  None
  * @retval None
  */
PUTCHAR_PROTOTYPE
{
  /* Place your implementation of fputc here */
  /* e.g. write a character to the USART1 and Loop until the end of transmission */
  HAL_UART_Transmit(&hDiscoUart, (uint8_t *)&ch, 1, 0xFFFF);

  return ch;
}
#endif /* TERMINAL_USE */

/**
  * @brief  EXTI line detection callback.
  * @param  GPIO_Pin: Specifies the port pin connected to corresponding EXTI line.
  * @retval None
  */
void HAL_GPIO_EXTI_Callback(uint16_t GPIO_Pin)
{
  switch (GPIO_Pin)
  {
    case (GPIO_PIN_1):
    {
      SPI_WIFI_ISR();
      break;
    }
    default:
    {
      break;
    }
  }
}

/**
  * @brief  SPI3 line detection callback.
  * @param  None
  * @retval None
  */
void SPI3_IRQHandler(void)
{
  HAL_SPI_IRQHandler(&hspi);
}

/* USER CODE END 4 */

void StartDefaultTask(void *argument)
{
  /* USER CODE BEGIN 5 */
  /* Infinite loop */
  for(;;)
  {
    osDelay(pdMS_TO_TICKS(2000));
    printf("Hola\r\n");
  }
  /* USER CODE END 5 */
}

void wifiStartTask(void *argument)
{
  /* USER CODE BEGIN wifiStartTask */
	wifi_connect();
  /* Infinite loop */
  for(;;)
  {
    osDelay(1);
  }
  /* USER CODE END wifiStartTask */
}

void HAL_TIM_PeriodElapsedCallback(TIM_HandleTypeDef *htim)
{
  if (htim->Instance == TIM6) {
    HAL_IncTick();
  }
}

void Error_Handler(void)
{
  __disable_irq();
  while (1)
  {
  }
}
